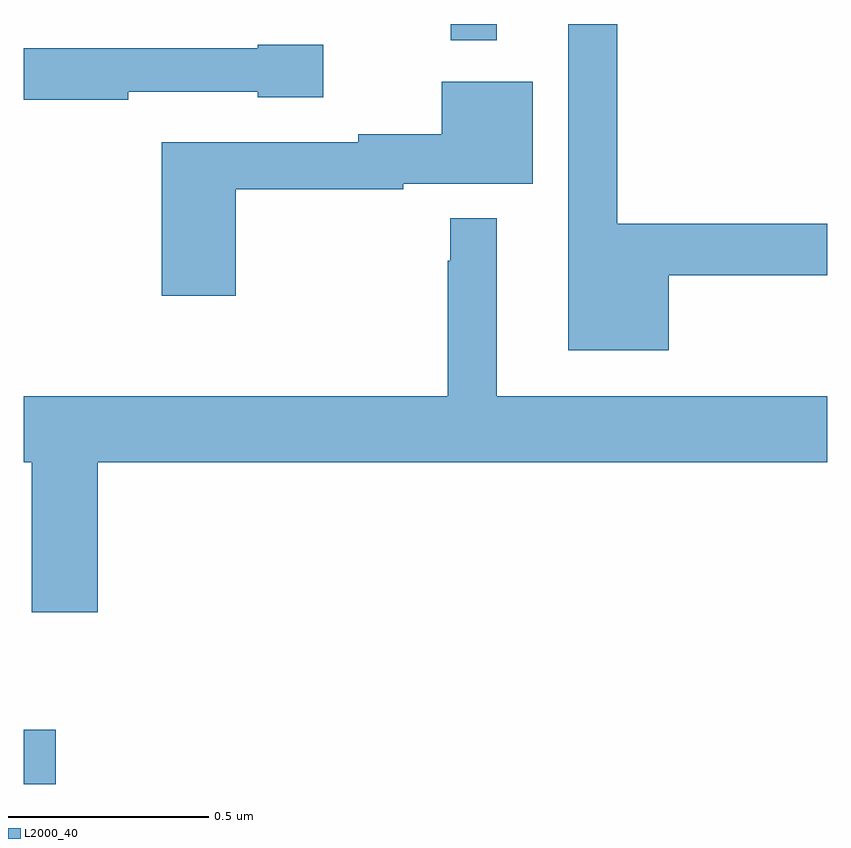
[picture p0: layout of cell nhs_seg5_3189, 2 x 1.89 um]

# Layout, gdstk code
import gdstk
lib = gdstk.Library(unit=1e-6, precision=1e-09)
def R(c, l, rs):  # rectangles x0, y0, x1, y1
    for r in rs: c.add(gdstk.rectangle(r[:2], r[2:], *l))
def P(c, l, *ps):  # polygons
    for p in ps: c.add(gdstk.Polygon(p, *l))
L2000_40 = (2000, 40)

nhs_seg5_3189 = lib.new_cell('nhs_seg5_3189')
R(nhs_seg5_3189, L2000_40, [(153,907.907,153.079,908.042), (154.063,909.759,154.177,909.799)])
P(nhs_seg5_3189, L2000_40, [(154.606,909.174),(155,909.174),(155,909.302),(154.477,909.302),(154.477,909.799),(154.355,909.799),(154.355,908.987),(154.606,908.987)],
  [(153.26,909.63),(153.582,909.63),(153.582,909.617),(153.745,909.617),(153.745,909.747),(153.582,909.747),(153.582,909.739),(153,909.739),(153,909.61),(153.26,909.61)],
  [(153.527,909.388),(153.944,909.388),(153.944,909.401),(154.267,909.401),(154.267,909.655),(154.04,909.655),(154.04,909.524),(153.832,909.524),(153.832,909.504),(153.344,909.504),(153.344,909.123),(153.527,909.123)],
  [(153.184,908.708),(155,908.708),(155,908.872),(154.177,908.872),(154.177,909.316),(154.062,909.316),(154.062,909.209),(154.056,909.209),(154.056,908.872),(153,908.872),(153,908.708),(153.02,908.708),(153.02,908.334),(153.184,908.334)])

lib.write_gds('nhs_seg5_3189.gds')
